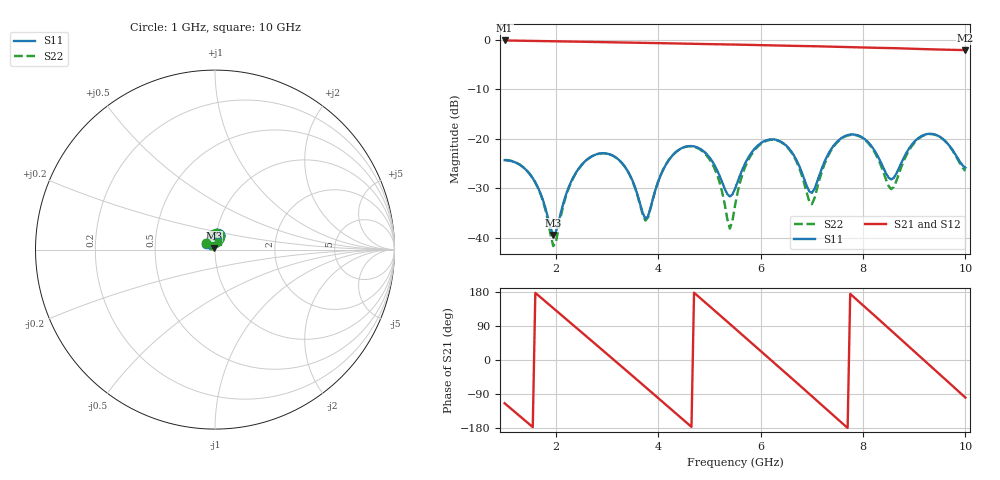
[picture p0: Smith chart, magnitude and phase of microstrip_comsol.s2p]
! COMSOL 6.4 full two-direction lumped-port sweep
# Hz S RI R 50
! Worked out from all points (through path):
!   181 points, 1 GHz to 10 GHz, reference 50 ohm
!   highest |S21| = -0.14 dB at 1 GHz (marker M1); lowest = -2.1 dB at 10 GHz (marker M2)
!   group delay of S21, straight-line fit = 329 ps
!   lowest |S11| = -39.5 dB at 1.95 GHz (marker M3), VSWR 1.02, Z = 49.4 + j0.893 ohm
!   |S11| at or under -10 dB: start of sweep to end of sweep
!   |S22| runs from -41.7 to -19.1 dB; largest |S21 - S12| = 1.5e-05
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1e9  -0.0506 0.0334  -0.4019 -0.8978  -0.4019 -0.8978  -0.0498 0.0351
1.5e9  -0.00697 0.0428  -0.9638 -0.1464  -0.9638 -0.1464  -0.00414 0.0432
1.95e9  -0.00562 0.00903  -0.7061 0.6597  -0.7061 0.6597  -0.0037 0.00732
2.5e9  -0.0475 0.0258  0.2694 0.9153  0.2694 0.9153  -0.0475 0.0252
3.2e9  0.00252 0.063  0.9324 -0.1188  0.9324 -0.1188  0.0044 0.0628
3.75e9  -0.00321 0.0152  0.299 -0.8808  0.299 -0.8808  -0.00274 0.0146
4e9  -0.0309 0.0201  -0.1679 -0.9093  -0.1679 -0.9093  -0.0303 0.0213
4.7e9  -0.00409 0.0835  -0.9079 0.0377  -0.9079 0.0377  0.0052 0.0826
5.1e9  0.0235 0.0486  -0.5867 0.685  -0.5867 0.685  0.0318 0.0386
5.4e9  -0.0017 0.026  -0.0796 0.8928  -0.0796 0.8928  -0.000304 0.0123
5.5e9  -0.0142 0.0277  0.1053 0.8879  0.1053 0.8879  -0.0155 0.0142
5.8e9  -0.0359 0.0595  0.5971 0.6549  0.5971 0.6549  -0.043 0.0506
6.25e9  0.00891 0.098  0.8705 -0.0869  0.8705 -0.0869  0.00407 0.0974
6.65e9  0.0396 0.055  0.5185 -0.696  0.5185 -0.696  0.0401 0.0526
7e9  0.000939 0.0283  -0.0798 -0.8575  -0.0798 -0.8575  -0.000121 0.0218
7.4e9  -0.0309 0.0753  -0.6826 -0.5058  -0.6826 -0.5058  -0.0368 0.0703
7.75e9  0.0104 0.1096  -0.8351 0.0803  -0.8351 0.0803  0.00552 0.1089
8.15e9  0.0506 0.0697  -0.4926 0.669  -0.4926 0.669  0.0503 0.0676
8.5e9  0.0164 0.0369  0.0882 0.8198  0.0882 0.8198  0.0146 0.0298
9.2e9  0.0111 0.109  0.8035 -0.021  0.8035 -0.021  0.00154 0.1085
9.65e9  0.0523 0.0726  0.4395 -0.6598  0.4395 -0.6598  0.0491 0.0744
1e10  0.0183 0.0474  -0.1264 -0.7749  -0.1265 -0.7749  0.0162 0.0444
